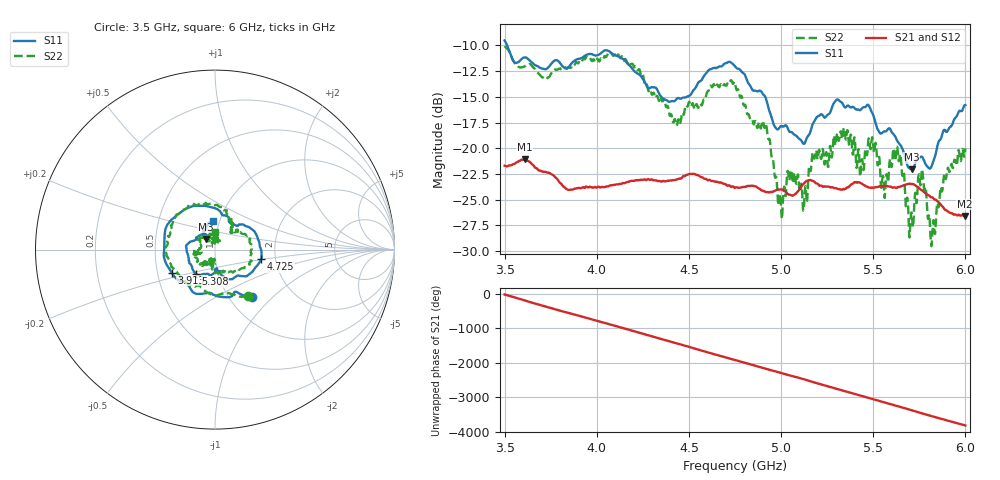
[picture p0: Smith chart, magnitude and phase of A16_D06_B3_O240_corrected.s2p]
! Created with skrf 1.9.0 (http://scikit-rf.org).
# Hz S RI R 50.0
!freq ReS11 ImS11 ReS21 ImS21 ReS12 ImS12 ReS22 ImS22
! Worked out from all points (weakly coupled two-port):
!   1601 points, 3.5 GHz to 6 GHz, reference 50 ohm
!   highest |S21| = -21.08 dB at 3.609 GHz (marker M1); lowest = -26.6 dB at 5.995 GHz (marker M2)
!   lowest |S11| = -22.1 dB at 5.709 GHz (marker M3), VSWR 1.17, Z = 44.8 + j5.35 ohm
!   |S11| at or under -10 dB: 3.514 GHz to end of sweep
!   |S22| runs from -29.5 to -10.1 dB; largest |S21 - S12| = 0.00097
!   S11 on the Smith chart (normalised r, x): 3.5 GHz: 1.27, -0.75; 3.913 GHz: 0.59, -0.16; 4.725 GHz: 1.68, -0.20; 5.308 GHz: 0.78, -0.22; 6 GHz: 0.93, +0.31
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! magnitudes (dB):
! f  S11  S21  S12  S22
! 3.5 GHz  -9.5  -21.7  -21.7  -10.1
! 3.609 GHz  -11.2  -21.1  -21.1  -12.0
! 3.913 GHz  -11.3  -23.9  -23.8  -11.6
! 3.917 GHz  -11.2  -23.9  -23.8  -11.6
! 4.334 GHz  -14.5  -23.2  -23.1  -15.3
! 4.442 GHz  -15.1  -23.0  -22.9  -17.2
! 4.725 GHz  -11.6  -23.7  -23.6  -13.4
! 4.75 GHz  -12.0  -23.9  -23.8  -13.7
! 4.912 GHz  -14.9  -24.2  -24.2  -17.9
! 4.995 GHz  -17.9  -24.0  -24.0  -24.5
! 5.045 GHz  -18.4  -24.5  -24.5  -23.1
! 5.13 GHz  -19.5  -23.3  -23.3  -24.0
! 5.167 GHz  -17.9  -23.2  -23.1  -21.0
! 5.308 GHz  -15.3  -24.0  -23.9  -18.7
! 5.584 GHz  -18.1  -23.7  -23.7  -22.4
! 5.639 GHz  -19.5  -23.8  -23.7  -21.3
! 5.709 GHz  -22.1  -23.5  -23.4  -26.4
! 5.758 GHz  -20.8  -24.0  -23.9  -23.4
! 5.823 GHz  -21.4  -24.8  -24.8  -27.6
! 5.894 GHz  -18.3  -26.0  -25.9  -23.0
! 5.995 GHz  -15.8  -26.6  -26.5  -20.7
! 6 GHz  -15.8  -26.6  -26.5  -20.0
